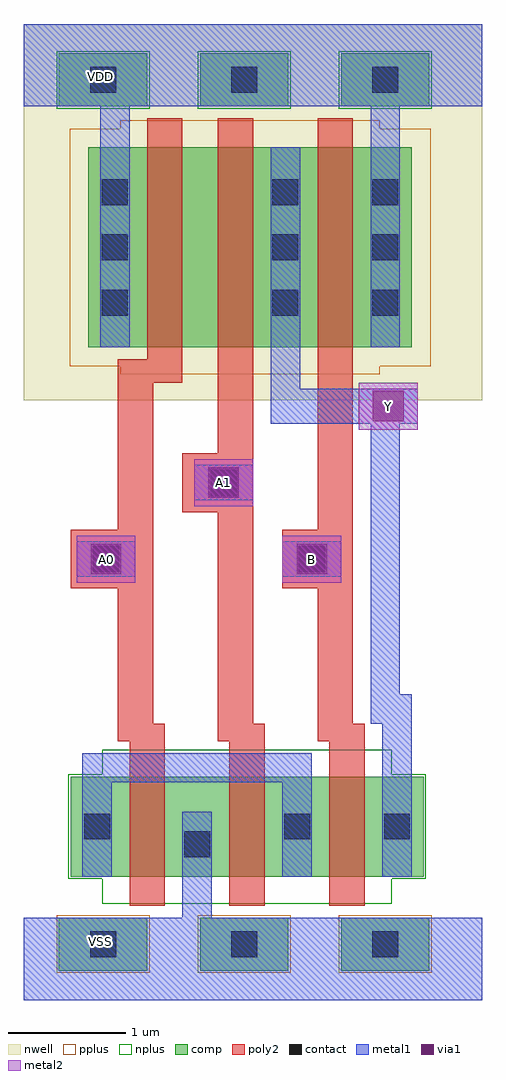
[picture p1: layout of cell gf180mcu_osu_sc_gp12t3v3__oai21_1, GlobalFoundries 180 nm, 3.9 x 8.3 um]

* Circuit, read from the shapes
.subckt gf180mcu_osu_sc_gp12t3v3__oai21_1 A0 A1 B VDD VSS Y
XM1 VSS A0 n1 VSS nfet_03v3 w=0.85u l=0.3u
XM2 n1 A1 VSS VSS nfet_03v3 w=0.85u l=0.3u
XM3 Y B n1 VSS nfet_03v3 w=0.85u l=0.3u
XM4 n2 A0 VDD VDD pfet_03v3 w=1.7u l=0.3u
XM5 Y A1 n2 VDD pfet_03v3 w=1.7u l=0.3u
XM6 VDD B Y VDD pfet_03v3 w=1.7u l=0.3u
.ends

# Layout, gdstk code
import gdstk
lib = gdstk.Library(unit=1e-6, precision=1e-09)
def R(c, l, rs):  # rectangles x0, y0, x1, y1
    for r in rs: c.add(gdstk.rectangle(r[:2], r[2:], *l))
def A(c, l, x, y, w, h, nx, ny, dx, dy):  # array of equal rectangles
    R(c, l, [(x+i*dx, y+j*dy, x+i*dx+w, y+j*dy+h) for i in range(nx) for j in range(ny)])
nwell = (21, 0)
comp = (22, 0)
poly2 = (30, 0)
pplus = (31, 0)
nplus = (32, 0)
contact = (33, 0)
metal1 = (34, 0)
via1 = (35, 0)
metal2 = (36, 0)

gf180mcu_osu_sc_gp12t3v3 = lib.new_cell('gf180mcu_osu_sc_gp12t3v3__oai21_1')
R(gf180mcu_osu_sc_gp12t3v3, nwell, [(0,5.1,3.9,8.3)])
A(gf180mcu_osu_sc_gp12t3v3, comp, 0.3, 0.25, 0.75, 0.45, 3, 2, 1.2, 7.35)
R(gf180mcu_osu_sc_gp12t3v3, comp, [(0.4,1.05,3.4,1.9), (0.55,5.55,3.3,7.25)])
A(gf180mcu_osu_sc_gp12t3v3, poly2, 0.9, 0.8, 0.3, 1.4, 3, 1, 0.85, 0)
A(gf180mcu_osu_sc_gp12t3v3, poly2, 0.8, 2.2, 0.4, 0.15, 3, 1, 0.85, 0)
R(gf180mcu_osu_sc_gp12t3v3, poly2, [(0.8,2.35,1.1,3.5), (1.65,2.35,1.95,4.15), (2.5,2.35,2.8,3.5), (0.4,3.5,1.1,4), (2.2,3.5,2.8,4), (0.8,4,1.1,5.25), (2.5,4,2.8,7.5), (1.35,4.15,1.95,4.65), (1.65,4.65,1.95,7.5), (0.8,5.25,1.35,5.45), (1.05,5.45,1.35,7.5)])
A(gf180mcu_osu_sc_gp12t3v3, pplus, 0.28, 0.23, 0.79, 0.49, 3, 1, 1.2, 0)
R(gf180mcu_osu_sc_gp12t3v3, pplus, [(0.82,5.32,3.03,5.39), (0.39,5.39,3.46,7.41), (0.82,7.41,3.03,7.48)])
A(gf180mcu_osu_sc_gp12t3v3, nplus, 0.28, 7.58, 0.79, 0.49, 3, 1, 1.2, 0)
R(gf180mcu_osu_sc_gp12t3v3, nplus, [(0.67,0.82,3.13,1.03), (0.38,1.03,3.42,1.92), (0.67,1.92,3.13,2.13)])
A(gf180mcu_osu_sc_gp12t3v3, contact, 0.565, 0.365, 0.22, 0.22, 3, 2, 1.2, 7.35)
A(gf180mcu_osu_sc_gp12t3v3, contact, 0.665, 5.82, 0.22, 0.22, 1, 3, 0, 0.47)
A(gf180mcu_osu_sc_gp12t3v3, contact, 2.115, 5.82, 0.22, 0.22, 1, 3, 0, 0.47)
A(gf180mcu_osu_sc_gp12t3v3, contact, 2.965, 5.82, 0.22, 0.22, 1, 3, 0, 0.47)
R(gf180mcu_osu_sc_gp12t3v3, contact, [(1.365,1.215,1.585,1.435), (0.515,1.365,0.735,1.585), (2.215,1.365,2.435,1.585), (3.065,1.365,3.285,1.585), (0.59,3.64,0.81,3.86), (2.34,3.64,2.56,3.86), (1.59,4.29,1.81,4.51)])
R(gf180mcu_osu_sc_gp12t3v3, metal1, [(0,0,3.9,0.7), (1.35,0.7,1.6,1.6), (0.5,1.05,0.75,1.85), (2.2,1.05,2.45,1.85), (3.05,1.05,3.3,2.35), (0.5,1.85,2.45,2.1), (2.95,2.35,3.3,2.6), (2.95,2.6,3.2,4.9), (0.45,3.6,0.95,3.9), (2.2,3.6,2.7,3.9), (1.45,4.25,1.95,4.55), (2.1,4.9,3.35,5.2), (2.1,5.2,2.35,7.25), (0.65,5.55,0.9,7.6), (2.95,5.55,3.2,7.6), (0,7.6,3.9,8.3)])
R(gf180mcu_osu_sc_gp12t3v3, via1, [(0.57,3.62,0.83,3.88), (2.32,3.62,2.58,3.88), (1.57,4.27,1.83,4.53), (2.97,4.92,3.23,5.18)])
R(gf180mcu_osu_sc_gp12t3v3, metal2, [(0.45,3.55,0.95,3.95), (2.2,3.55,2.7,3.95), (1.45,4.2,1.95,4.6), (2.85,4.85,3.35,5.25)])
gf180mcu_osu_sc_gp12t3v3.add(gdstk.Label('A0', (0.7,3.75), layer=36, texttype=10))
gf180mcu_osu_sc_gp12t3v3.add(gdstk.Label('A1', (1.7,4.4), layer=36, texttype=10))
gf180mcu_osu_sc_gp12t3v3.add(gdstk.Label('B', (2.45,3.75), layer=36, texttype=10))
gf180mcu_osu_sc_gp12t3v3.add(gdstk.Label('Y', (3.1,5.05), layer=36, texttype=10))
gf180mcu_osu_sc_gp12t3v3.add(gdstk.Label('VDD', (0.65,7.85), layer=34, texttype=10))
gf180mcu_osu_sc_gp12t3v3.add(gdstk.Label('VSS', (0.65,0.5), layer=34, texttype=10))

lib.write_gds('gf180mcu_osu_sc_gp12t3v3__oai21_1.gds')
